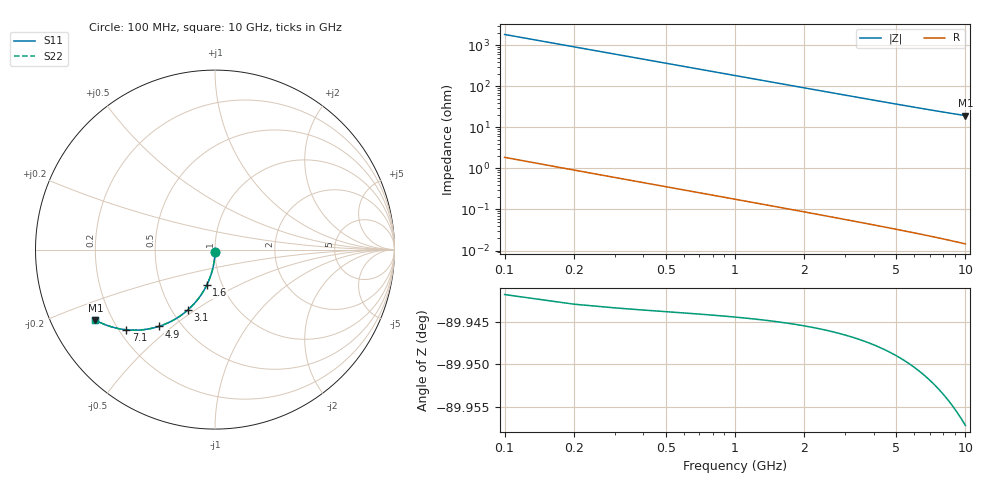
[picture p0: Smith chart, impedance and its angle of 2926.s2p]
# Hz S RI R 50.00
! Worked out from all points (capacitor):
!   100 points, 100 MHz to 10 GHz, reference 50 ohm
!   read as one part in shunt: C = 868 fF near 100 MHz
!   lowest |Z| = 19.4 ohm at 10 GHz (marker M1)
!   S11 on the Smith chart (normalised r, x): 100 MHz: 1.00, -0.03; 1.6 GHz: 0.85, -0.35; 3.1 GHz: 0.60, -0.47; 4.9 GHz: 0.38, -0.45; 7.1 GHz: 0.23, -0.37; 10 GHz: 0.14, -0.27
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1e8  -5.03e-05 -0.0129  0.9997 -0.0144  0.9997 -0.0144  -5.03e-05 -0.0129
2e8  -0.000618 -0.0258  0.9991 -0.0287  0.9991 -0.0287  -0.000618 -0.0258
3e8  -0.00156 -0.0387  0.9981 -0.043  0.9981 -0.043  -0.00156 -0.0387
4e8  -0.00286 -0.0515  0.9968 -0.0573  0.9968 -0.0573  -0.00286 -0.0515
5e8  -0.00453 -0.0643  0.9951 -0.0715  0.9951 -0.0715  -0.00453 -0.0643
6e8  -0.00656 -0.077  0.9931 -0.0856  0.9931 -0.0856  -0.00656 -0.077
7e8  -0.00895 -0.0896  0.9907 -0.0997  0.9907 -0.0997  -0.00895 -0.0896
9e8  -0.0148 -0.1145  0.9848 -0.1275  0.9848 -0.1275  -0.0148 -0.1145
1.2e9  -0.0261 -0.1509  0.9735 -0.1682  0.9735 -0.1682  -0.0261 -0.1509
1.6e9  -0.0456 -0.1971  0.9539 -0.2202  0.9539 -0.2202  -0.0456 -0.1971
1.8e9  -0.057 -0.219  0.9423 -0.245  0.9423 -0.245  -0.057 -0.219
2.4e9  -0.0974 -0.2792  0.9017 -0.314  0.9017 -0.314  -0.0974 -0.2792
3.1e9  -0.1531 -0.3377  0.8456 -0.3827  0.8456 -0.3827  -0.1531 -0.3377
3.4e9  -0.1789 -0.3587  0.8196 -0.4081  0.8196 -0.4081  -0.1789 -0.3587
4.1e9  -0.2415 -0.3982  0.7564 -0.4581  0.7564 -0.4581  -0.2415 -0.3982
4.9e9  -0.314 -0.4282  0.6831 -0.5001  0.6831 -0.5001  -0.314 -0.4282
5.1e9  -0.3318 -0.4335  0.665 -0.5084  0.665 -0.5084  -0.3318 -0.4335
5.9e9  -0.4009 -0.4464  0.5949 -0.5335  0.5949 -0.5335  -0.4009 -0.4464
6.7e9  -0.465 -0.4487  0.5297 -0.5481  0.5297 -0.5481  -0.465 -0.4487
7.1e9  -0.4949 -0.4466  0.4992 -0.5523  0.4992 -0.5523  -0.4949 -0.4466
8.4e9  -0.5813 -0.429  0.4104 -0.5552  0.4104 -0.5552  -0.5813 -0.429
1e10  -0.6662 -0.3926  0.3217 -0.5451  0.3217 -0.5451  -0.6662 -0.3926
